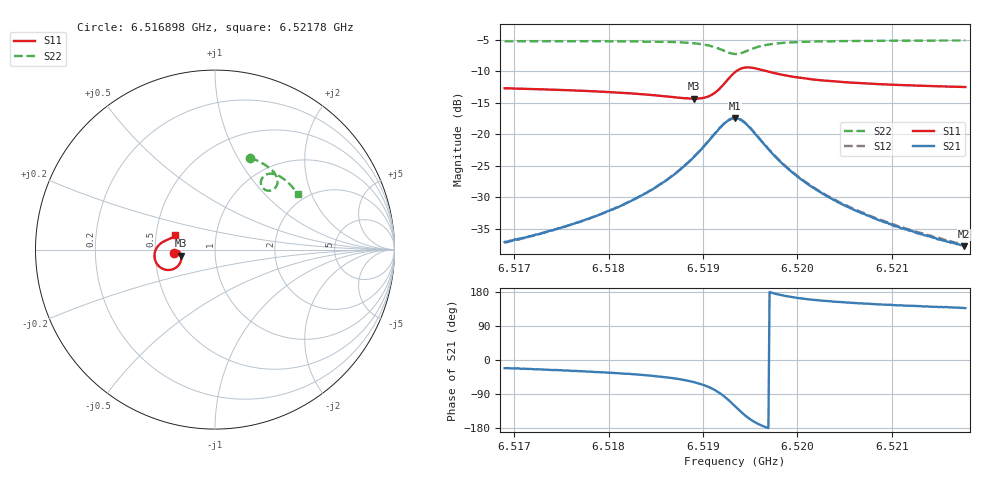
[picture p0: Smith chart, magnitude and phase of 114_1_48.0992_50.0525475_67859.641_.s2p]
#  HZ  S  RI  R  50.00
! Rohde & Schwarz Vector Network Analyzer
! Rohde-Schwarz,ZNB20-2Port,1311601062101988,3.16
! Created: UTC 12/23/2023, 3:46:05 AM
! freq[Hz]  re:S11  im:S11  re:S21  im:S21  re:S12  im:S12  re:S22  im:S22
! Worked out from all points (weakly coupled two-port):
!   401 points, 6.516898 GHz to 6.52178 GHz, reference 50 ohm
!   highest |S21| = -17.46 dB at 6.519339 GHz (marker M1); lowest = -37.8 dB at 6.521768 GHz (marker M2)
!   lowest |S11| = -14.4 dB at 6.5189 GHz (marker M3), VSWR 1.47, Z = 34.1 - j2.37 ohm
!   |S11| at or under -10 dB: start of sweep to 6.519351 GHz; 6.51968 GHz to end of sweep
!   |S22| runs from -7.2 to -5.1 dB; largest |S21 - S12| = 0.0042
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6.516898e9  -0.2312 -0.0191  0.0129 -0.00513  0.013 -0.00458  0.196 0.5119
6.5172886e9  -0.2271 -0.0133  0.0147 -0.00687  0.0149 -0.0065  0.225 0.5003
6.5177158e9  -0.2214 -0.00812  0.0178 -0.0101  0.018 -0.00948  0.2568 0.4849
6.5181308e9  -0.2135 -0.00555  0.022 -0.0156  0.0226 -0.0149  0.2877 0.4662
6.5185336e9  -0.2021 -0.00971  0.0284 -0.0272  0.0294 -0.0262  0.3188 0.4409
6.5187167e9  -0.1953 -0.017  0.0321 -0.0374  0.0334 -0.0367  0.333 0.4244
6.5188998e9  -0.1885 -0.0335  0.0345 -0.0555  0.0364 -0.0548  0.3452 0.4007
6.5190096e9  -0.1879 -0.0514  0.0322 -0.0731  0.0345 -0.0728  0.3486 0.3803
6.5191073e9  -0.1949 -0.0749  0.022 -0.0947  0.025 -0.0947  0.3442 0.3579
6.5192415e9  -0.2363 -0.1099  -0.0203 -0.1226  -0.0168 -0.1241  0.3128 0.3298
6.5193392e9  -0.2923 -0.1064  -0.0705 -0.1138  -0.0678 -0.1166  0.2742 0.3365
6.519388e9  -0.3167 -0.0883  -0.0902 -0.0954  -0.0882 -0.0987  0.2607 0.3521
6.5194491e9  -0.3339 -0.0577  -0.1023 -0.0669  -0.1009 -0.0703  0.2553 0.3755
6.5195467e9  -0.3345 -0.0132  -0.0978 -0.0288  -0.0979 -0.0318  0.2673 0.4048
6.5196566e9  -0.3191 0.0176  -0.0813 -0.00495  -0.082 -0.00748  0.2898 0.4197
6.5199129e9  -0.2861 0.0451  -0.0509 0.0116  -0.0518 0.0102  0.3325 0.4203
6.520157e9  -0.2675 0.0539  -0.0354 0.0136  -0.0362 0.0127  0.3598 0.409
6.5204988e9  -0.252 0.0605  -0.024 0.0126  -0.0248 0.0122  0.3878 0.3899
6.5209748e9  -0.2388 0.0675  -0.0159 0.0109  -0.0165 0.0107  0.4185 0.3619
6.5214631e9  -0.229 0.0745  -0.0115 0.00956  -0.0119 0.00933  0.4448 0.3323
6.5217682e9  -0.224 0.0786  -0.00944 0.00876  -0.01 0.00877  0.4595 0.3133
6.5217804e9  -0.2237 0.0788  -0.00944 0.00884  -0.00992 0.00866  0.46 0.3124
